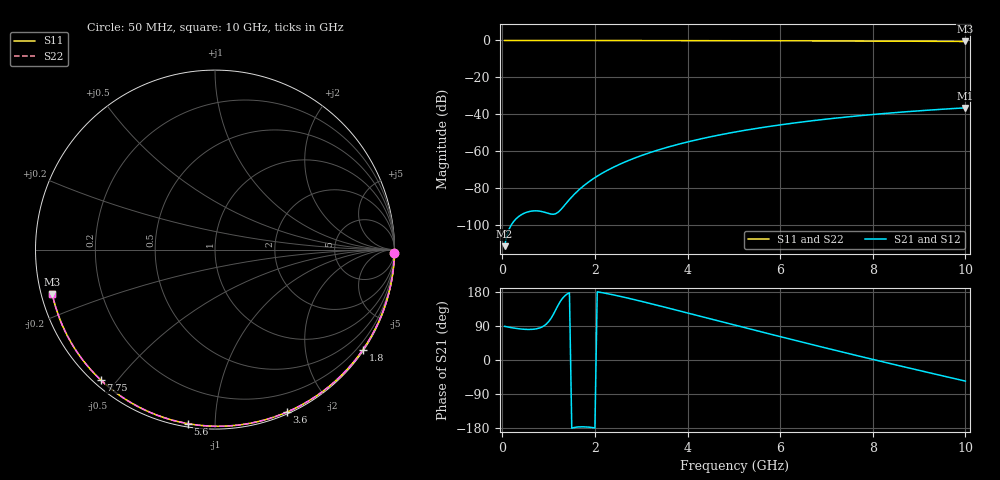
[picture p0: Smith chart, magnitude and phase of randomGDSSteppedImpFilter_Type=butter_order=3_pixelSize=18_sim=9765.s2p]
! freq	dB(S11)	phase(S11)	dB(S12)	phase(S12)
!  dB(S21)	phase(S21)	dB(S22)	phase(S22)
!S-par simulation data
#  GHz  S  DB  R 50
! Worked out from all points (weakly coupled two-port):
!   200 points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, 50 MHz to 10 GHz, reference 50 ohm
!   highest |S21| = -36.49 dB at 10 GHz (marker M1); lowest = -111.4 dB at 50 MHz (marker M2)
!   lowest |S11| = -0.5 dB at 10 GHz (marker M3), VSWR 32.17, Z = 1.58 - j6.7 ohm
!   |S11| at or under -10 dB: nowhere
!   |S22| runs from -0.5 to 0.0 dB; largest |S21 - S12| = 0
!   S11 on the Smith chart (normalised r, x): 50 MHz: open; 1.8 GHz: 0.03, -3.26; 3.6 GHz: 0.02, -1.54; 5.6 GHz: 0.02, -0.86; 7.75 GHz: 0.02, -0.45; 10 GHz: 0.03, -0.13
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0.05  -0.00 -1.0  -111.39 88.8  -111.39 88.8  -0.00 -1.0
0.45  -0.01 -8.7  -93.82 81.2  -93.82 81.2  -0.01 -8.7
0.85  -0.02 -16.3  -92.62 86.7  -92.62 86.7  -0.02 -16.3
1.65  -0.04 -31.3  -81.00 -176.6  -81.00 -176.6  -0.04 -31.3
1.7  -0.04 -32.2  -79.89 -176.3  -79.89 -176.3  -0.04 -32.2
1.75  -0.04 -33.1  -78.84 -176.3  -78.84 -176.3  -0.04 -33.1
1.8  -0.04 -34.1  -77.84 -176.6  -77.84 -176.6  -0.04 -34.1
2.1  -0.05 -39.6  -72.72 178.9  -72.72 178.9  -0.05 -39.6
2.3  -0.06 -43.2  -69.92 174.4  -69.92 174.4  -0.06 -43.2
2.5  -0.06 -46.8  -67.45 169.2  -67.45 169.2  -0.06 -46.8
2.9  -0.07 -54.0  -63.28 157.9  -63.28 157.9  -0.07 -54.0
3.4  -0.08 -62.7  -59.05 142.8  -59.05 142.8  -0.08 -62.7
3.6  -0.09 -66.1  -57.59 136.6  -57.59 136.6  -0.09 -66.1
4.3  -0.11 -77.9  -53.21 114.7  -53.21 114.7  -0.11 -77.9
5.05  -0.14 -90.2  -49.47 91.2  -49.47 91.2  -0.14 -90.2
5.6  -0.16 -98.9  -47.19 74.1  -47.19 74.1  -0.16 -98.9
6.15  -0.19 -107.4  -45.20 57.1  -45.20 57.1  -0.19 -107.4
6.7  -0.22 -115.7  -43.45 40.3  -43.45 40.3  -0.22 -115.7
7.75  -0.30 -131.3  -40.67 8.9  -40.67 8.9  -0.30 -131.3
8.35  -0.36 -140.1  -39.34 -8.7  -39.34 -8.7  -0.36 -140.1
9.2  -0.44 -152.7  -37.74 -33.1  -37.74 -33.1  -0.44 -152.7
10  -0.54 -164.7  -36.49 -55.6  -36.49 -55.6  -0.54 -164.7
